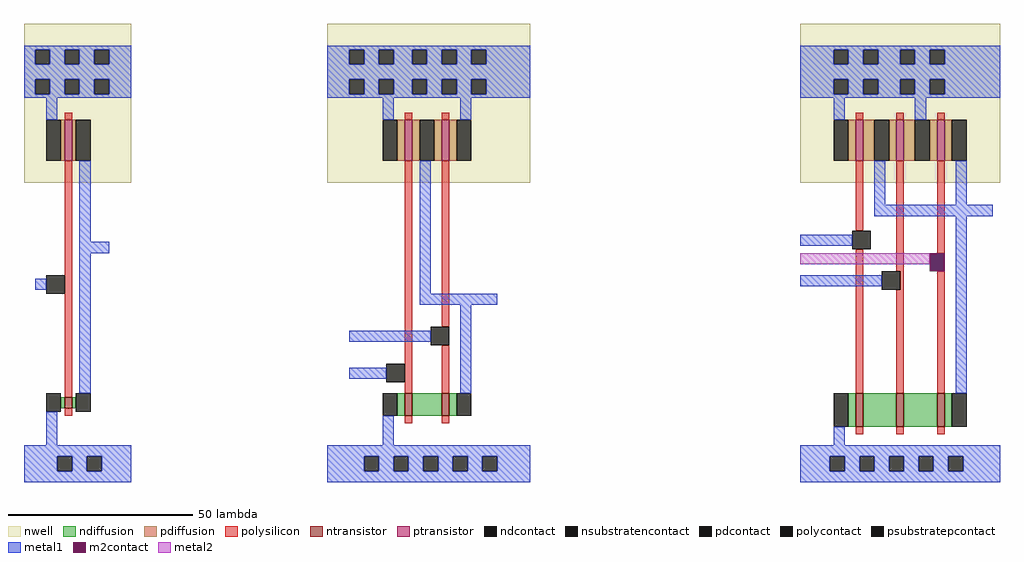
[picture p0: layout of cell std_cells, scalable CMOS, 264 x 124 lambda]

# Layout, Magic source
magic
tech scmos
<< nwell >>
rect 550 550 579 593
rect 632 550 687 593
rect 760 550 814 593
<< ntransistor >>
rect 561 489 563 492
rect 653 487 655 493
rect 663 487 665 493
rect 775 484 777 493
rect 786 484 788 493
rect 797 484 799 493
<< ptransistor >>
rect 561 556 563 567
rect 653 556 655 567
rect 663 556 665 567
rect 775 556 777 567
rect 786 556 788 567
rect 797 556 799 567
<< ndiffusion >>
rect 560 489 561 492
rect 563 489 564 492
rect 651 487 653 493
rect 655 487 663 493
rect 665 487 667 493
rect 773 484 775 493
rect 777 484 786 493
rect 788 484 797 493
rect 799 484 801 493
<< pdiffusion >>
rect 560 556 561 567
rect 563 556 564 567
rect 651 556 653 567
rect 655 556 657 567
rect 661 556 663 567
rect 665 556 667 567
rect 773 556 775 567
rect 777 556 780 567
rect 784 556 786 567
rect 788 556 791 567
rect 795 556 797 567
rect 799 556 801 567
<< ndcontact >>
rect 556 488 560 493
rect 564 488 568 493
rect 647 487 651 493
rect 667 487 671 493
rect 769 484 773 493
rect 801 484 805 493
<< pdcontact >>
rect 556 556 560 567
rect 564 556 568 567
rect 647 556 651 567
rect 657 556 661 567
rect 667 556 671 567
rect 769 556 773 567
rect 780 556 784 567
rect 791 556 795 567
rect 801 556 805 567
<< psubstratepcontact >>
rect 559 472 563 476
rect 567 472 571 476
rect 642 472 646 476
rect 650 472 654 476
rect 658 472 662 476
rect 666 472 670 476
rect 674 472 678 476
rect 768 472 772 476
rect 776 472 780 476
rect 784 472 788 476
rect 792 472 796 476
rect 800 472 804 476
<< nsubstratencontact >>
rect 553 582 557 586
rect 561 582 565 586
rect 569 582 573 586
rect 638 582 642 586
rect 646 582 650 586
rect 655 582 659 586
rect 663 582 667 586
rect 671 582 675 586
rect 769 582 773 586
rect 777 582 781 586
rect 787 582 791 586
rect 795 582 799 586
rect 553 574 557 578
rect 561 574 565 578
rect 569 574 573 578
rect 638 574 642 578
rect 646 574 650 578
rect 655 574 659 578
rect 663 574 667 578
rect 671 574 675 578
rect 769 574 773 578
rect 777 574 781 578
rect 787 574 791 578
rect 795 574 799 578
<< polysilicon >>
rect 561 567 563 569
rect 653 567 655 569
rect 663 567 665 569
rect 775 567 777 569
rect 786 567 788 569
rect 797 567 799 569
rect 561 492 563 556
rect 653 493 655 556
rect 663 511 665 556
rect 775 537 777 556
rect 663 493 665 506
rect 775 493 777 532
rect 786 526 788 556
rect 797 531 799 556
rect 787 521 788 526
rect 786 493 788 521
rect 797 493 799 526
rect 561 487 563 489
rect 653 485 655 487
rect 663 485 665 487
rect 775 482 777 484
rect 786 482 788 484
rect 797 482 799 484
<< polycontact >>
rect 556 520 561 525
rect 648 496 653 501
rect 774 532 779 537
rect 660 506 665 511
rect 795 526 799 531
rect 782 521 787 526
<< metal1 >>
rect 550 586 579 587
rect 550 582 553 586
rect 557 582 561 586
rect 565 582 569 586
rect 573 582 579 586
rect 550 578 579 582
rect 550 574 553 578
rect 557 574 561 578
rect 565 574 569 578
rect 573 574 579 578
rect 550 573 579 574
rect 632 586 687 587
rect 632 582 638 586
rect 642 582 646 586
rect 650 582 655 586
rect 659 582 663 586
rect 667 582 671 586
rect 675 582 687 586
rect 632 578 687 582
rect 632 574 638 578
rect 642 574 646 578
rect 650 574 655 578
rect 659 574 663 578
rect 667 574 671 578
rect 675 574 687 578
rect 632 573 687 574
rect 760 586 814 587
rect 760 582 769 586
rect 773 582 777 586
rect 781 582 787 586
rect 791 582 795 586
rect 799 582 814 586
rect 760 578 814 582
rect 760 574 769 578
rect 773 574 777 578
rect 781 574 787 578
rect 791 574 795 578
rect 799 574 814 578
rect 760 573 814 574
rect 556 567 559 573
rect 647 567 650 573
rect 668 567 671 573
rect 769 567 772 573
rect 791 567 794 573
rect 565 534 568 556
rect 565 531 573 534
rect 553 521 556 524
rect 565 493 568 531
rect 657 520 660 556
rect 780 544 783 556
rect 802 544 805 556
rect 780 541 812 544
rect 760 533 774 536
rect 760 522 782 525
rect 657 517 678 520
rect 638 507 660 510
rect 638 497 648 500
rect 668 493 671 517
rect 802 493 805 541
rect 556 479 559 488
rect 647 479 650 487
rect 769 479 772 484
rect 550 476 579 479
rect 550 472 559 476
rect 563 472 567 476
rect 571 472 579 476
rect 550 469 579 472
rect 632 476 687 479
rect 632 472 642 476
rect 646 472 650 476
rect 654 472 658 476
rect 662 472 666 476
rect 670 472 674 476
rect 678 472 687 476
rect 632 469 687 472
rect 760 476 814 479
rect 760 472 768 476
rect 772 472 776 476
rect 780 472 784 476
rect 788 472 792 476
rect 796 472 800 476
rect 804 472 814 476
rect 760 469 814 472
<< m2contact >>
rect 795 526 799 531
<< metal2 >>
rect 760 528 795 531
<< end >>
